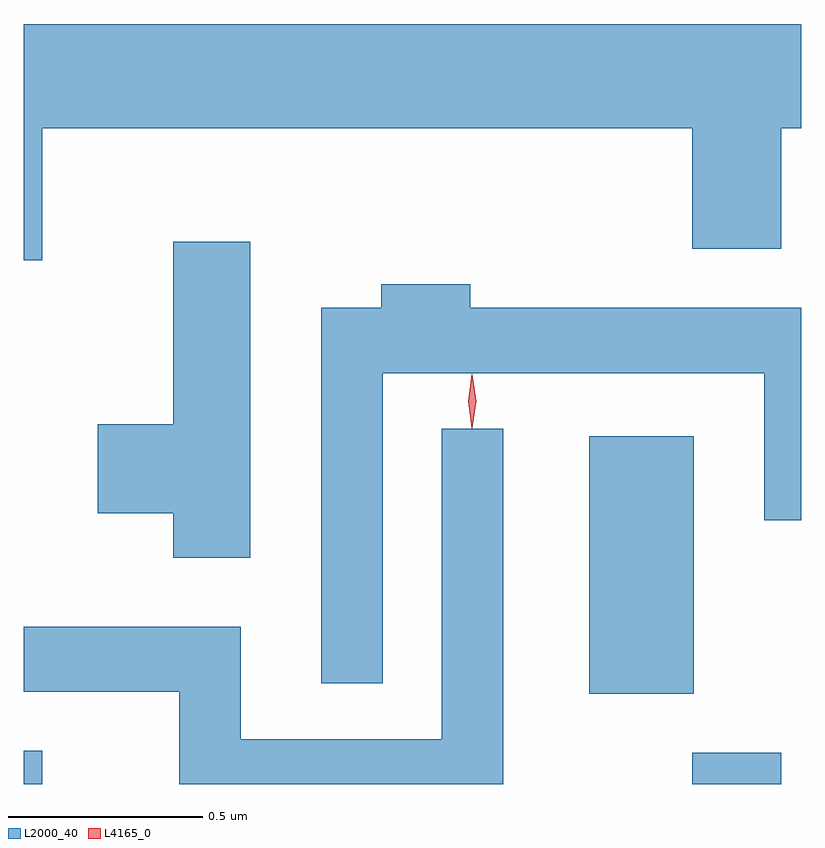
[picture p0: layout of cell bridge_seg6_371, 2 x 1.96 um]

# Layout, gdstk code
import gdstk
lib = gdstk.Library(unit=1e-6, precision=1e-09)
def R(c, l, rs):  # rectangles x0, y0, x1, y1
    for r in rs: c.add(gdstk.rectangle(r[:2], r[2:], *l))
def P(c, l, *ps):  # polygons
    for p in ps: c.add(gdstk.Polygon(p, *l))
L2000_40 = (2000, 40)
L4165_0 = (4165, 0)

bridge_seg6_371 = lib.new_cell('bridge_seg6_371')
R(bridge_seg6_371, L2000_40, [(1290.871,1532.809,1290.919,1532.894), (1292.591,1532.809,1292.819,1532.889), (1292.326,1533.041,1292.594,1533.704)])
P(bridge_seg6_371, L2000_40, [(1290.919,1534.496),(1292.591,1534.496),(1292.591,1534.186),(1292.819,1534.186),(1292.819,1534.496),(1292.871,1534.496),(1292.871,1534.764),(1290.871,1534.764),(1290.871,1534.156),(1290.919,1534.156)],
  [(1291.454,1534.204),(1291.256,1534.204),(1291.256,1533.734),(1291.061,1533.734),(1291.061,1533.506),(1291.256,1533.506),(1291.256,1533.391),(1291.454,1533.391)],
  [(1291.794,1533.866),(1292.776,1533.866),(1292.776,1533.488),(1292.871,1533.488),(1292.871,1534.034),(1292.019,1534.034),(1292.019,1534.094),(1291.791,1534.094),(1291.791,1534.034),(1291.636,1534.034),(1291.636,1533.068),(1291.794,1533.068)],
  [(1292.104,1533.723),(1291.946,1533.723),(1291.946,1532.924),(1291.429,1532.924),(1291.429,1533.214),(1290.871,1533.214),(1290.871,1533.046),(1291.271,1533.046),(1291.271,1532.809),(1292.104,1532.809)])
P(bridge_seg6_371, L4165_0, [(1292.024,1533.724),(1292.015,1533.793),(1292.024,1533.863),(1292.025,1533.863),(1292.025,1533.863),(1292.035,1533.793),(1292.025,1533.724),(1292.025,1533.724)],
  [(1292.024,1533.727),(1292.015,1533.794),(1292.024,1533.86),(1292.025,1533.861),(1292.025,1533.86),(1292.035,1533.794),(1292.025,1533.727),(1292.025,1533.727)])

lib.write_gds('bridge_seg6_371.gds')
